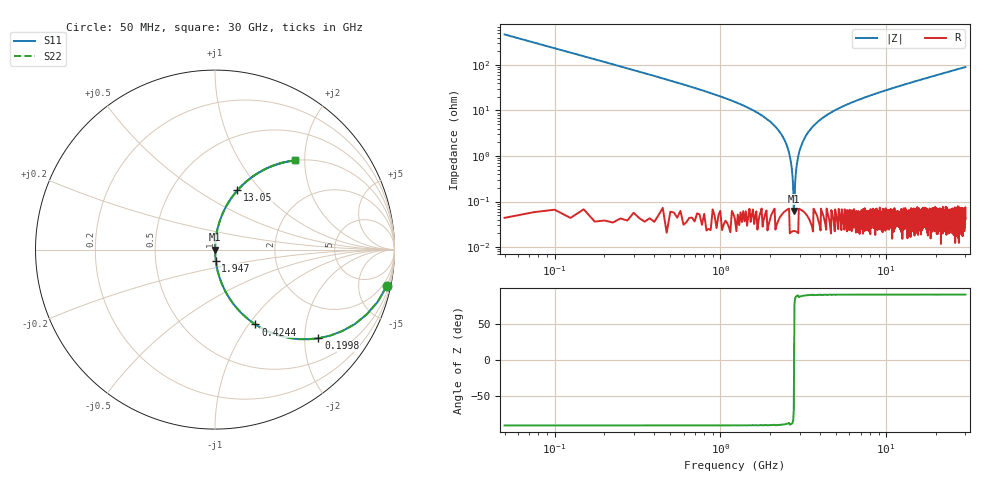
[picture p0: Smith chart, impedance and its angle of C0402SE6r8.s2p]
!	AVX Thin Film Operation 	Date: April 2014
!	Description: Accu-P® Series, Thin Film  SMD RF Capacitor
!	Part Number: 04025J6R8BBSTR
# MHZ S MA R 50
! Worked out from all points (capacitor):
!   1201 points, 50 MHz to 30 GHz, reference 50 ohm
!   read as one part in series: C = 6.8 pF near 199.8 MHz
!   lowest |Z| = 62.1 mohm at 2.77 GHz (marker M1)
!   series resonance near 2.78 GHz, so ESL is about 480 pH
!   S11 on the Smith chart (normalised r, x): 50 MHz: 1.00, -9.36; 199.8 MHz: 1.00, -2.33; 424.4 MHz: 1.00, -1.08; 1.947 GHz: 1.00, -0.12; 13.05 GHz: 1.00, +0.75; 30 GHz: 1.00, +1.80
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50  0.978 -12.1  0.209 77.9  0.209 77.9  0.978 -12.1
199.75  0.759 -40.6  0.651 49.4  0.651 49.4  0.759 -40.6
424.375  0.474 -61.7  0.88 28.3  0.88 28.3  0.474 -61.7
873.625  0.235 -76.3  0.972 13.6  0.972 13.6  0.235 -76.3
1946.833  0.061 -86.1  0.998 3.5  0.998 3.5  0.061 -86.1
2446  0.022 -87.6  0.999 1.2  0.999 1.2  0.022 -87.6
2570.792  0.013 -87.3  0.999 0.8  0.999 0.8  0.013 -87.3
2670.625  0.006775 -85.8  1 0.4  1 0.4  0.006775 -85.8
2770.458  0.000735 -52.2  1 0.0  1 0.0  0.000735 -52.2
2895.25  0.006851 85.8  1 -0.4  1 -0.4  0.006851 85.8
2995.083  0.013 87.2  0.999 -0.7  0.999 -0.7  0.013 87.2
3094.917  0.018 87.5  0.999 -1.0  0.999 -1.0  0.018 87.5
3444.333  0.036 87.2  0.999 -2.1  0.999 -2.1  0.036 87.2
4043.333  0.064 85.9  0.997 -3.7  0.997 -3.7  0.064 85.9
5041.667  0.106 83.7  0.994 -6.1  0.994 -6.1  0.106 83.7
7088.25  0.179 79.6  0.983 -10.3  0.983 -10.3  0.179 79.6
10058.29  0.271 74.2  0.962 -15.7  0.962 -15.7  0.271 74.2
13053.29  0.353 69.3  0.935 -20.7  0.935 -20.7  0.353 69.3
15025  0.402 66.2  0.915 -23.7  0.915 -23.7  0.402 66.2
20016.67  0.511 59.2  0.859 -30.7  0.859 -30.7  0.511 59.2
25033.29  0.599 53.2  0.8 -36.8  0.8 -36.8  0.599 53.2
30000  0.669 48.0  0.743 -42.0  0.743 -42.0  0.669 48.0
